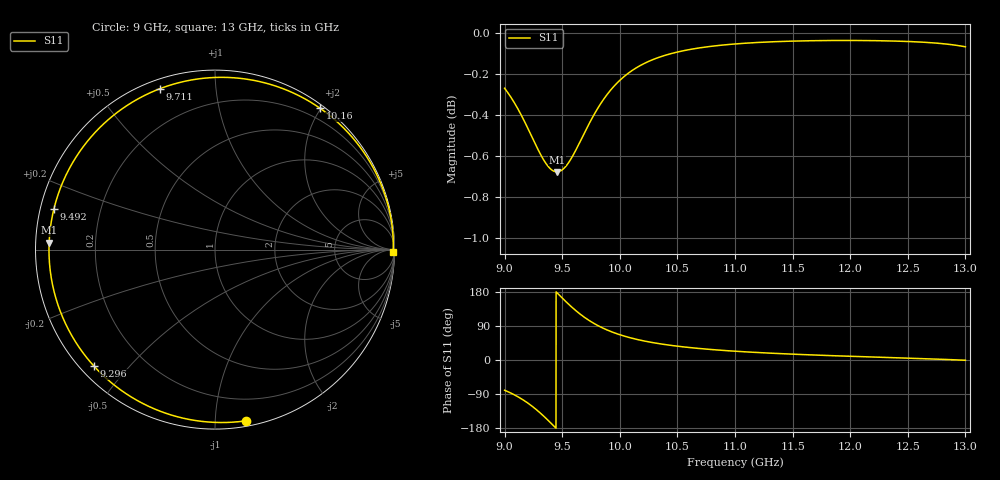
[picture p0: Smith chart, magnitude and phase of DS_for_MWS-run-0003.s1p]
! TOUCHSTONE file generated by CST DESIGN STUDIO
! Date and time: Wed Feb  5 13:30:05 2025
! Project name: C:\Work\MatlabApps\UnitCellOptimizationMatlab\CST\unitcell.cst
! Tree item: Tasks\Sweep1\SPara1\S-Parameters
! Header version: 2024
! Port assignment regex: !\s*Touchstone port\s*([0-9]+)\s*=\s*(CST MWS port|CST DES external port|CST DES block port)\s*(.+)\s* \(\"(.*)\"\)(\s*mode\s*([0-9]+))?.*
! Touchstone port assignment:
! Touchstone port 1 = CST DES external port 1 ("")
# GHz S MA R 50
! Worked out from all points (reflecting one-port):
!   4001 points, 9 GHz to 13 GHz, reference 50 ohm
!   lowest |S11| = -0.7 dB at 9.454 GHz (marker M1), VSWR 25.67, Z = 1.95 + j1.05 ohm
!   phase of S11 starts at -80 deg and turns -281 deg over the sweep
!   S11 on the Smith chart (normalised r, x): 9 GHz: 0.04, -1.19; 9.296 GHz: 0.04, -0.40; 9.492 GHz: 0.04, +0.12; 9.711 GHz: 0.04, +0.71; 10.16 GHz: 0.05, +1.99; 13 GHz: open
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9  0.9693 -79.8
9.092  0.9607 -93.1
9.166  0.9523 -106.3
9.233  0.9438 -120.7
9.296  0.9359 -136.2
9.337  0.9314 -147.4
9.381  0.9276 -160.2
9.418  0.9257 -171.4
9.454  0.925 177.6
9.492  0.9257 166.0
9.5  0.9261 163.6
9.556  0.9299 147.1
9.607  0.935 133.2
9.658  0.9411 120.6
9.711  0.9476 108.9
9.767  0.9541 98.1
9.83  0.9606 87.6
9.913  0.9678 76.3
10  0.9736 66.7
10.163  0.9812 53.3
10.316  0.9857 44.4
10.5  0.9892 36.4
10.722  0.9918 29.5
11  0.9937 23.2
11.5  0.9952 15.4
12  0.9956 9.8
12.5  0.995 4.9
13  0.9921 -0.7
